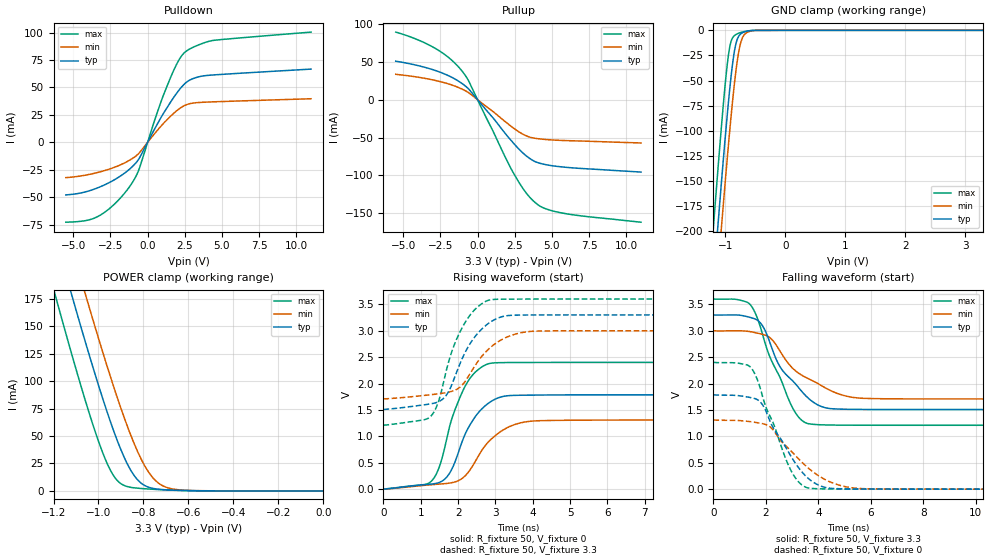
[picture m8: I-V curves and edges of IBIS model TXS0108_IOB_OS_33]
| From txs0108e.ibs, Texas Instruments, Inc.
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[Model]   TXS0108_IOB_OS_33
Model_type  I/O
Vinl=0.8
Vinh=2.0
Enable   Active-Low
Vref =   0
Rref =   1000000
Cref =   15p
Vmeas =   1.65
| variable   typ   min   max
C_comp   4.04pF   3.65pF   4.45pF
| C_pullup   3.81pF   3.12pF   5.13pF
| C_pulldown   4.49pF   4.10pF   5.08pF
| C_tri-state   4.04pF   3.65pF   4.45pF
[Temperature Range]   40   100   -40
| Ambient temperature   25   85   -40
[Voltage range]   3.3   3   3.6
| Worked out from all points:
|   slope of the pulldown table from 0 to 0.495 V, typ, clamps not added: 38.9 ohm
|   slope of the pullup table from 0 to 0.495 V, typ, clamps not added: 42.6 ohm
|   GND clamp passes 1 mA (typ) near -0.65 V on its own axis
|   POWER clamp passes 1 mA (typ) near -0.70 V on its own axis
|   rising waveform, R_fixture 50, V_fixture 0: 20-80 % time 705ps typ, 858ps min, 643ps max; typ from 0.002 V to 1.79 V
|   falling waveform, R_fixture 50, V_fixture 3.3: 20-80 % time 1.31ns typ, 1.72ns min, 1.12ns max; typ from 3.3 V to 1.51 V
|   rising waveform, R_fixture 50, V_fixture 3.3: 20-80 % time 757ps typ, 866ps min, 672ps max; typ from 1.51 V to 3.3 V
|   falling waveform, R_fixture 50, V_fixture 0: 20-80 % time 1.28ns typ, 1.6ns min, 1.06ns max; typ from 1.79 V to 0.002 V
[GND Clamp]
| TXS0108_IOB_OS_33
|   Voltage   I(typ)   I(min)   I(max)
-5.5V     -3.818A    -3.833A    -3.807A
-1.205V   -255mA     -299.8mA   -199.4mA
-1.135V   -201.7mA   -246.7mA   -145.7mA
-1.115V   -186.7mA   -231.8mA   -130.7mA
-1.08V    -160.9mA   -205.9mA   -105.1mA
-1.06V    -146.4mA   -191.3mA   -90.89mA
-955mV    -74.67mA   -117.4mA   -26.93mA
-910mV    -48.06mA   -88.14mA   -11.83mA
-855mV    -22.5mA    -55.68mA   -5.549mA
-755mV    -4.116mA   -14.6mA    -2.348mA
-655mV    -1.044mA   -2.667mA   -870.4uA
3.3V      130.6pA    1.038uA    95.8pA
[POWER Clamp]
| TXS0108_IOB_OS_33
|   Voltage   I(typ)   I(min)   I(max)
-5.5V     3.692A     3.704A     3.7A
-1.2V     237.8mA    281.5mA    184.1mA
-1.175V   219.3mA    263.1mA    165.5mA
-1.11V    172.1mA    216mA      118.1mA
-1.06V    136.8mA    180.5mA    83.33mA
-980mV    83.42mA    125.7mA    34.17mA
-925mV    50.55mA    90.34mA    11.63mA
-835mV    12.28mA    40.05mA    2.674mA
-785mV    4.005mA    19.62mA    1.857mA
-740mV    1.718mA    8.258mA    1.311mA
-620mV    423.7uA    670.1uA    303.8uA
0V        0A         0A         0A
[Pulldown]
| TXS0108_IOB_OS_33
|   Voltage   I(typ)   I(min)   I(max)
-5.5V     -47.86mA   -32.14mA   -72.72mA
-3.26V    -40.9mA    -27.11mA   -66.93mA
-2.21V    -33.93mA   -22.62mA   -56.03mA
-1.195V   -24.21mA   -16.14mA   -40.1mA
-595mV    -15.3mA    -10.11mA   -25.32mA
695mV     17.59mA    11.51mA    28.87mA
1.51V     35.85mA    23.27mA    57.82mA
2.105V    47.39mA    30.33mA    74.91mA
2.575V    54.31mA    34.08mA    82.81mA
3.32V     59.26mA    36.18mA    88.15mA
4.39V     61.37mA    36.9mA     92.8mA
11V       66.74mA    39.73mA    100.5mA
[Pullup]
| TXS0108_IOB_OS_33
|   Voltage   I(typ)   I(min)   I(max)
-5.5V     50.76mA    33.47mA    89.14mA
-4.085V   45.33mA    29.89mA    79.53mA
-2.855V   38.58mA    25.41mA    67.8mA
-1.905V   31.16mA    20.47mA    54.92mA
-1.095V   22.05mA    14.43mA    39.05mA
-580mV    13.71mA    8.993mA    24.01mA
2.375V    -56.35mA   -36.81mA   -95.32mA
3.24V     -73.49mA   -47.34mA   -122.2mA
4.03V     -82.89mA   -51.4mA    -138.1mA
4.735V    -86.22mA   -52.75mA   -144.9mA
5.945V    -89.22mA   -53.97mA   -150.4mA
11V       -95.47mA   -57.1mA    -161.6mA
[Ramp]
| TXS0108_IOB_OS_33
| variable   typ   min   max
dV/dt_r   1.07/7.08E-10   0.79/8.62E-10   1.44/6.47E-10
dV/dt_f   1.07/1.32E-09   0.77/1.72E-09   1.43/1.12E-09
R_load = 50
[Rising Waveform]
| TXS0108_IOB_OS_33
R_fixture =   50
C_fixture =   0
L_fixture =   0
V_fixture =   0
V_fixture_min = 0
V_fixture_max = 0
|   Time   V(typ)   V(min)   V(max)
0s        1.68mV     1.299mV    2.13mV
1.31ns    100.3mV    87mV       173mV
1.525ns   137.8mV    99.42mV    485mV
1.76ns    292.2mV    115.5mV    1.153V
2.165ns   1.007V     238.8mV    1.919V
2.465ns   1.38V      532.6mV    2.22V
2.865ns   1.654V     933.4mV    2.384V
3.45ns    1.776V     1.208V     2.399V
4.185ns   1.783V     1.297V     2.4V
19.96ns   1.787V     1.311V     2.401V
[Falling Waveform]
| TXS0108_IOB_OS_33
R_fixture =   50
C_fixture =   0
L_fixture =   0
V_fixture =   3.3
V_fixture_min = 3
V_fixture_max = 3.6
|   Time   V(typ)   V(min)   V(max)
0s        3.3V       3V         3.6V
1.425ns   3.249V     2.981V     3.481V
1.83ns    3.121V     2.937V     3.002V
2.175ns   2.742V     2.859V     2.476V
2.515ns   2.337V     2.631V     2.138V
2.965ns   2.076V     2.317V     1.589V
3.615ns   1.723V     2.093V     1.241V
4.315ns   1.537V     1.905V     1.217V
5.68ns    1.511V     1.722V     1.212V
19.96ns   1.509V     1.709V     1.211V
[Rising Waveform]
| TXS0108_IOB_OS_33
R_fixture =   50
C_fixture =   0
L_fixture =   0
V_fixture =   3.3
V_fixture_min = 3
V_fixture_max = 3.6
|   Time   V(typ)   V(min)   V(max)
0s        1.509V     1.709V     1.211V
1.285ns   1.619V     1.79V      1.395V
1.48ns    1.659V     1.807V     1.674V
1.69ns    1.787V     1.83V      2.267V
2.075ns   2.419V     1.948V     3.014V
2.445ns   2.882V     2.33V      3.4V
2.865ns   3.165V     2.684V     3.586V
3.44ns    3.293V     2.916V     3.599V
4.155ns   3.299V     2.994V     3.6V
19.96ns   3.3V       3V         3.6V
[Falling Waveform]
| TXS0108_IOB_OS_33
R_fixture =   50
C_fixture =   0
L_fixture =   0
V_fixture =   0
V_fixture_min = 0
V_fixture_max = 0
|   Time   V(typ)   V(min)   V(max)
0s        1.787V     1.311V     2.401V
1.455ns   1.731V     1.276V     2.285V
1.87ns    1.599V     1.241V     1.758V
2.205ns   1.231V     1.16V      1.331V
2.89ns    677mV      756.8mV    419mV
3.23ns    416.4mV    581.3mV    146.2mV
3.59ns    215.2mV    411.1mV    26.05mV
4.29ns    30.65mV    174.3mV    5.892mV
5.59ns    4.215mV    13.27mV    2.543mV
19.96ns   1.681mV    1.3mV      2.13mV
